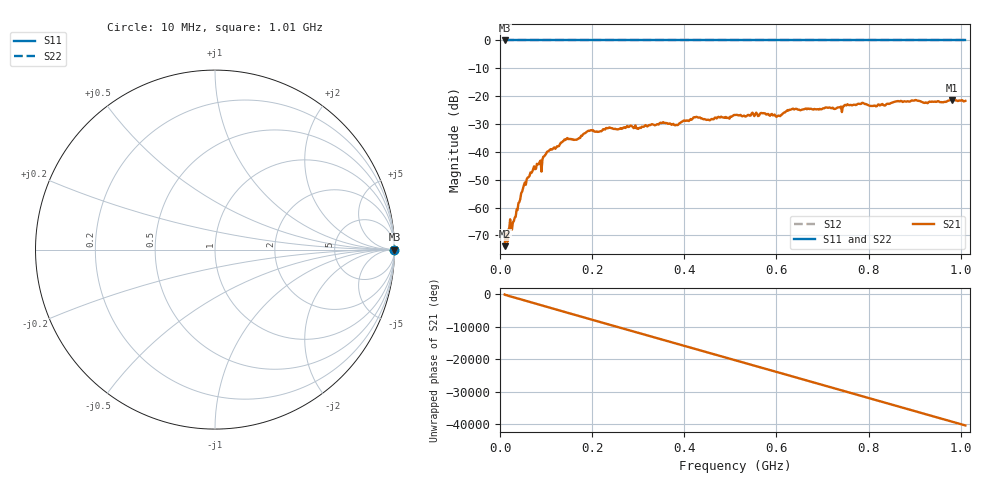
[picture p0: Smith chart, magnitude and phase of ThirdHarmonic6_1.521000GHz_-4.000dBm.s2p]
! 8/16/2025 5:57:11 PM
! C:\ANRITSUVNA\TEMP\TEMP.S2P
! CHANNEL.1
! TR.MEASUREMENT
! RAW.DATA
! RF.CORRECTION.OFF
! AVERAGING.OFF
! IF.BANDWIDTH: 5KHZ
! SWEEPTYPE:  FREQ.SWEEP(Linear)
! Reference Plane Port Info
! PORT:  PORT1  PORT2
! DISTANCE:  0  m  0  m
! TIME:  0  s  0  s
! PHASE.OFFSET:  0  deg.  0  deg.
! LOSS:  0  dB  0  dB
! REF.LOSS:  0  dB  0  dB
! REF.FREQ:  0  Hz  0  Hz
! Power Info
! POWER:  -20  dBm  -20  dBm
! EFF.POWER:  -20  dBm  -20  dBm
! SOURCE.ATTEN:  0  dB  0  dB
! TEST.ATTEN:  0  dB  0  dB
# GHZ S RI R 50.0
! FREQ.GHZ  S11RE  S11IM  S21RE  S21IM  S12RE  S12IM  S22RE  S22IM
!; PortSelection: Port_12
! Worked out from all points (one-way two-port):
!   501 points, 10 MHz to 1.01 GHz, reference 50 ohm
!   highest |S21| = -21.34 dB at 980 MHz (marker M1); lowest = -73.9 dB at 10 MHz (marker M2)
!   lowest |S11| = 0.0 dB at 10 MHz (marker M3)
!   |S11| at or under -10 dB: nowhere
!   |S22| runs from 0.0 to 0.0 dB; largest |S21 - S12| = 1.1
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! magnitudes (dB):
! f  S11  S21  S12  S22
! 10 MHz  0.0  -73.9  0.0  0.0
! 30 MHz  0.0  -64.9  0.0  0.0
! 50 MHz  0.0  -53.1  0.0  0.0
! 70 MHz  0.0  -47.1  0.0  0.0
! 88 MHz  0.0  -43.1  0.0  0.0
! 106 MHz  0.0  -39.7  0.0  0.0
! 142 MHz  0.0  -35.8  0.0  0.0
! 164 MHz  0.0  -35.6  0.0  0.0
! 178 MHz  0.0  -34.2  0.0  0.0
! 196 MHz  0.0  -32.3  0.0  0.0
! 344 MHz  0.0  -30.2  0.0  0.0
! 382 MHz  0.0  -30.3  0.0  0.0
! 424 MHz  0.0  -27.6  0.0  0.0
! 452 MHz  0.0  -28.4  0.0  0.0
! 510 MHz  0.0  -26.8  0.0  0.0
! 570 MHz  0.0  -26.2  0.0  0.0
! 604 MHz  0.0  -27.0  0.0  0.0
! 632 MHz  0.0  -24.8  0.0  0.0
! 678 MHz  0.0  -24.8  0.0  0.0
! 844 MHz  0.0  -22.8  0.0  0.0
! 980 MHz  0.0  -21.3  0.0  0.0
! 1.01 GHz  0.0  -21.7  0.0  0.0
